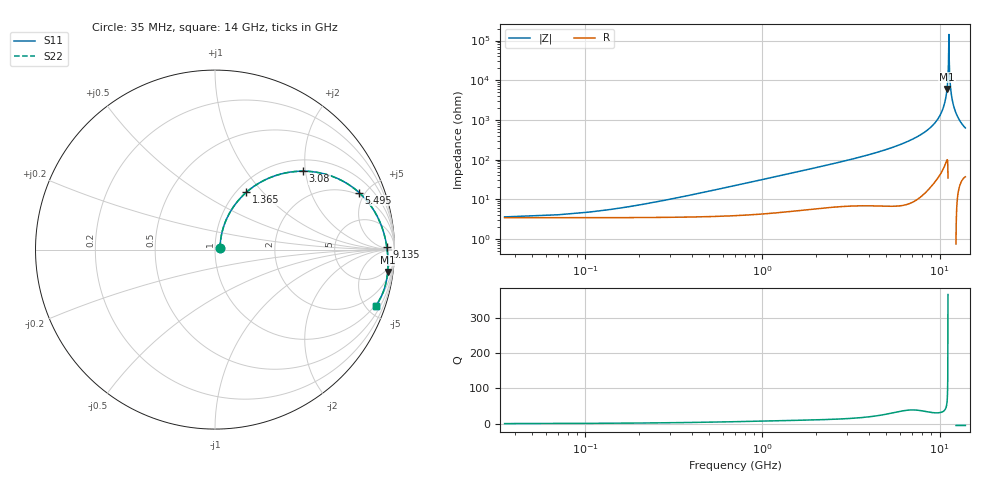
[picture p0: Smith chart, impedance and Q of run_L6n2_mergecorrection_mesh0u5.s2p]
#  Hz  S  RI  R  50
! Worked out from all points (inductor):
!   400 points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, 35 MHz to 14 GHz, reference 50 ohm
!   read as one part in series: L = 4.97 nH near 350 MHz
!   highest Q = 60.6 at 11.03 GHz (marker M1), where L = 86.8 nH
!   self-resonance near 11.27 GHz
!   S11 on the Smith chart (normalised r, x): 35 MHz: 1.06, +0.02; 1.365 GHz: 1.11, +0.81; 3.08 GHz: 1.26, +1.94; 5.495 GHz: 1.82, +4.56; 9.135 GHz: 40, +15; 14 GHz: 0.90, -5.71
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3.5e7  0.0279 0.00984  0.9614 -0.0107  0.9614 -0.0107  0.028 0.00983
2.45e8  0.0335 0.0684  0.9555 -0.0741  0.9555 -0.0741  0.0336 0.0684
4.9e8  0.0501 0.1341  0.9379 -0.1453  0.9379 -0.1453  0.0501 0.134
1.365e9  0.174 0.3188  0.8076 -0.3459  0.8076 -0.3459  0.174 0.3187
2.38e9  0.3643 0.4205  0.6107 -0.4595  0.6107 -0.4595  0.3643 0.4204
3.08e9  0.4899 0.4371  0.4827 -0.4829  0.4827 -0.4829  0.4898 0.4369
4.69e9  0.7218 0.3765  0.2488 -0.4397  0.2488 -0.4397  0.7217 0.3763
5.495e9  0.8036 0.3171  0.1662 -0.39  0.1662 -0.39  0.8035 0.3168
7.035e9  0.9033 0.1866  0.0642 -0.2785  0.0642 -0.2785  0.9032 0.1863
9.135e9  0.9574 0.0154  0.00635 -0.1328  0.00635 -0.1328  0.9572 0.015
9.345e9  0.9596 -0.000603  0.00379 -0.1193  0.00379 -0.1193  0.9593 -0.00105
1.0465e10  0.9643 -0.0842  -0.00283 -0.0497  -0.00283 -0.0497  0.964 -0.0846
1.1025e10  0.9622 -0.1251  -0.00178 -0.016  -0.00178 -0.016  0.9619 -0.1256
1.12e10  0.9609 -0.1378  -0.00082 -0.00555  -0.00082 -0.00555  0.9606 -0.1383
1.1235e10  0.9606 -0.1403  -0.00059 -0.00347  -0.00059 -0.00347  0.9603 -0.1408
1.1305e10  0.9599 -0.1453  -9.14e-05 0.000672  -9.12e-05 0.000671  0.9596 -0.1458
1.134e10  0.9596 -0.1479  0.000177 0.00274  0.000177 0.00274  0.9593 -0.1484
1.141e10  0.9588 -0.1529  0.000754 0.00686  0.000754 0.00686  0.9585 -0.1534
1.1515e10  0.9576 -0.1604  0.00172 0.013  0.00172 0.013  0.9573 -0.1609
1.169e10  0.9553 -0.1729  0.00359 0.0232  0.00359 0.0232  0.955 -0.1734
1.2495e10  0.9401 -0.2284  0.0166 0.0683  0.0166 0.0683  0.9397 -0.2289
1.4e10  0.8954 -0.3153  0.0565 0.1368  0.0565 0.1368  0.895 -0.3158
